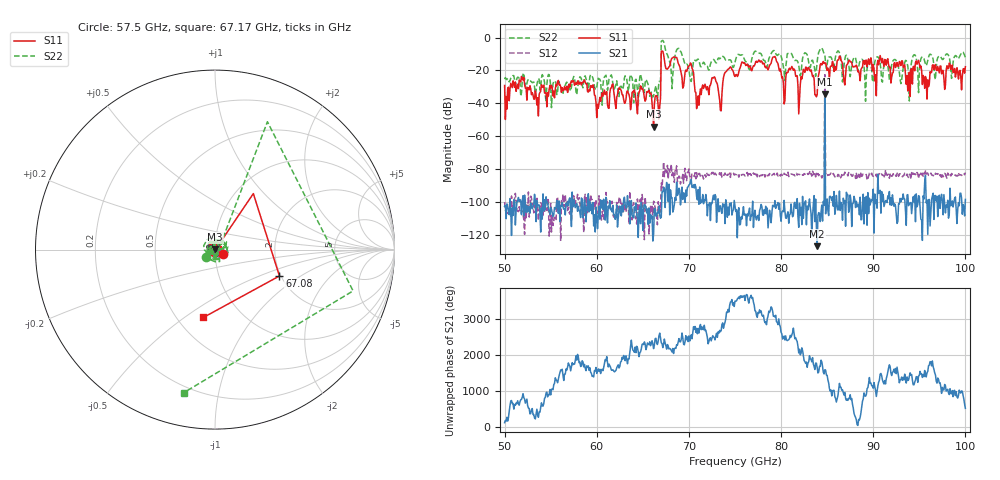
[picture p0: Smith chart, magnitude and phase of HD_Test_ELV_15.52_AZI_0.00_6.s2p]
! 11/25/2026 9:12:40 AM
! C:\ANRITSUVNA\TEMP\TEMP.S2P
! CHANNEL.1
! TR.MEASUREMENT
! RAW.DATA
# HZ S RI R 50.0
! FREQ.HZ  S11RE  S11IM  S21RE  S21IM  S12RE  S12IM  S22RE  S22IM
!; PortSelection: Port_12
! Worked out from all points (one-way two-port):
!   601 points, 50 GHz to 100 GHz, reference 50 ohm
!   highest |S21| = -34.53 dB at 84.75 GHz (marker M1); lowest = -127.0 dB at 83.92 GHz (marker M2)
!   lowest |S11| = -54.2 dB at 66.17 GHz (marker M3), VSWR 1.00, Z = 50.1 + j0.156 ohm
!   |S11| at or under -10 dB: start of sweep to 67 GHz; 67.24 GHz to end of sweep
!   |S22| runs from -42.7 to -1.8 dB; largest |S21 - S12| = 0.092
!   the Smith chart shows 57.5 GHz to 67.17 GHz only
!   S11 on the Smith chart (normalised r, x): 57.5 GHz: 1.09, -0.05; 67.08 GHz: 1.96, -0.68; 67.17 GHz: 0.67, -0.59
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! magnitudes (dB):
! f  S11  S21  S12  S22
! 50 GHz  -29.2  -102.8  -100.2  -25.3
! 57.5 GHz  -26.2  -98.7  -96.3  -23.7
! 58.42 GHz  -27.2  -98.3  -102.4  -29.0
! 60.17 GHz  -43.0  -108.3  -106.7  -24.8
! 61.67 GHz  -28.7  -106.1  -99.6  -24.5
! 66.17 GHz  -54.2  -119.8  -99.6  -35.3
! 66.67 GHz  -41.9  -106.8  -99.9  -32.1
! 67.08 GHz  -8.2  -93.9  -91.5  -1.9
! 67.17 GHz  -8.3  -93.8  -84.5  -1.8
! 70.17 GHz  -15.5  -87.7  -85.2  -25.7
! 70.92 GHz  -40.7  -98.8  -84.8  -13.3
! 75 GHz  -23.7  -102.3  -83.2  -15.0
! 79.25 GHz  -11.8  -103.1  -82.7  -7.9
! 80.25 GHz  -27.5  -106.0  -84.5  -17.7
! 83.42 GHz  -23.7  -108.7  -81.3  -13.8
! 83.92 GHz  -34.8  -127.0  -84.1  -14.7
! 84.75 GHz  -15.6  -34.5  -22.6  -10.4
! 91.67 GHz  -16.6  -98.1  -83.2  -20.5
! 93.75 GHz  -32.6  -95.6  -84.5  -17.3
! 94.83 GHz  -15.0  -101.6  -82.7  -20.3
! 95.83 GHz  -37.5  -98.8  -82.4  -15.9
! 100 GHz  -17.7  -98.5  -82.2  -12.2
